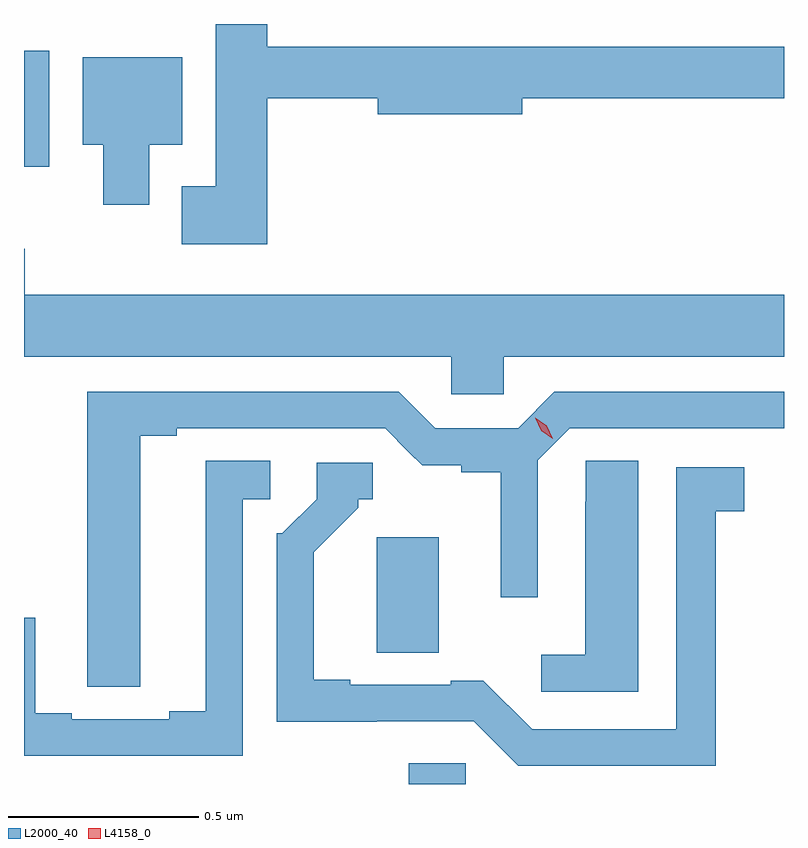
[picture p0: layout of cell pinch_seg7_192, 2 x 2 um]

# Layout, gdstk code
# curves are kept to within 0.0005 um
import gdstk
lib = gdstk.Library(unit=1e-6, precision=1e-09)
def R(c, l, rs):  # rectangles x0, y0, x1, y1
    for r in rs: c.add(gdstk.rectangle(r[:2], r[2:], *l))
def P(c, l, *ps):  # polygons
    for p in ps: c.add(gdstk.Polygon(p, *l))
L2000_40 = (2000, 40)
L4158_0 = (4158, 0)

pinch_seg7_192 = lib.new_cell('pinch_seg7_192')
R(pinch_seg7_192, L2000_40, [(1104.263,1026.132,1104.414,1026.186), (1103.251,1027.757,1103.317,1028.062)])
P(pinch_seg7_192, L2000_40, [(1103.891,1027.936),(1104.182,1027.936),(1104.182,1027.894),(1104.562,1027.894),(1104.562,1027.936),(1105.251,1027.936),(1105.251,1028.072),(1103.891,1028.072),(1103.891,1028.132),(1103.756,1028.132),(1103.756,1027.705),(1103.666,1027.705),(1103.666,1027.553),(1103.891,1027.553)],
  [(1103.581,1027.814),(1103.668,1027.814),(1103.668,1028.044),(1103.405,1028.044),(1103.405,1027.814),(1103.459,1027.814),(1103.459,1027.656),(1103.581,1027.656)],
  [(1104.513,1027.256),(1105.251,1027.256),(1105.251,1027.42),(1103.253,1027.42),(1103.253,1027.541),(1103.251,1027.541),(1103.251,1027.256),(1104.375,1027.256),(1104.375,1027.158),(1104.513,1027.158)],
  [(1103.557,1027.048),(1103.653,1027.048),(1103.653,1027.068),(1104.201,1027.068),(1104.299,1026.971),(1104.402,1026.971),(1104.402,1026.952),(1104.506,1026.952),(1104.506,1026.624),(1104.603,1026.624),(1104.603,1026.984),(1104.687,1027.068),(1105.251,1027.068),(1105.251,1027.164),(1104.647,1027.164),(1104.551,1027.068),(1104.333,1027.068),(1104.237,1027.164),(1103.417,1027.164),(1103.417,1026.496),(1103.418,1026.496),(1103.418,1026.388),(1103.557,1026.388)],
  [(1104.868,1026.983),(1104.729,1026.983),(1104.729,1026.875),(1104.728,1026.875),(1104.728,1026.472),(1104.612,1026.472),(1104.612,1026.375),(1104.868,1026.375)],
  [(1103.826,1026.882),(1103.899,1026.882),(1103.899,1026.983),(1103.729,1026.983),(1103.729,1026.323),(1103.633,1026.323),(1103.633,1026.303),(1103.377,1026.303),(1103.377,1026.318),(1103.281,1026.318),(1103.281,1026.569),(1103.251,1026.569),(1103.251,1026.207),(1103.826,1026.207)],
  [(1105.072,1026.85),(1105.147,1026.85),(1105.147,1026.966),(1104.968,1026.966),(1104.968,1026.276),(1104.588,1026.276),(1104.46,1026.404),(1104.374,1026.404),(1104.374,1026.393),(1104.109,1026.393),(1104.109,1026.406),(1104.013,1026.406),(1104.013,1026.742),(1104.13,1026.859),(1104.13,1026.882),(1104.169,1026.882),(1104.169,1026.978),(1104.021,1026.978),(1104.021,1026.882),(1103.931,1026.792),(1103.916,1026.792),(1103.916,1026.296),(1104.179,1026.296),(1104.179,1026.297),(1104.435,1026.297),(1104.552,1026.18),(1105.072,1026.18)],
  [(1104.342,1026.636),(1104.343,1026.636),(1104.343,1026.781),(1104.179,1026.781),(1104.179,1026.478),(1104.342,1026.478)])
P(pinch_seg7_192, L4158_0, [(1104.642,1027.041),(1104.612,1027.062),(1104.596,1027.096),(1104.596,1027.096),(1104.596,1027.096),(1104.627,1027.075),(1104.643,1027.041),(1104.643,1027.041)])

lib.write_gds('pinch_seg7_192.gds')
